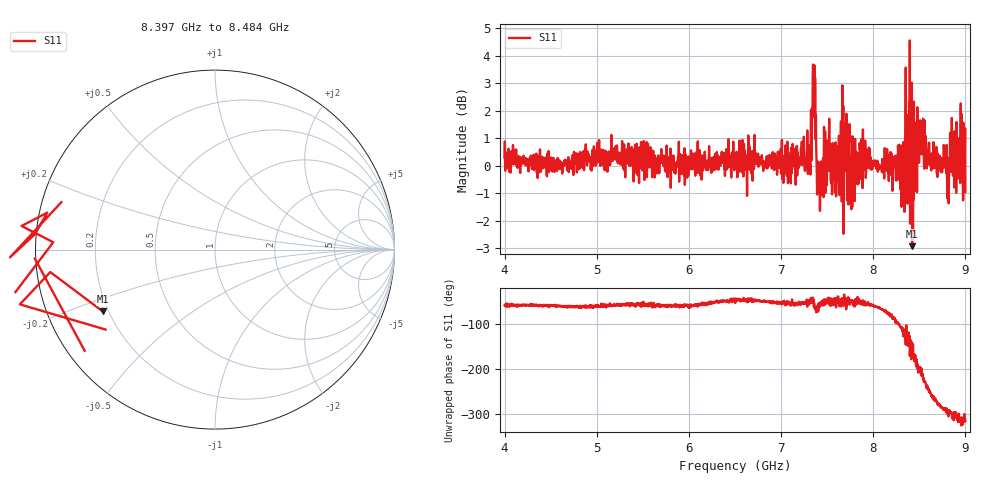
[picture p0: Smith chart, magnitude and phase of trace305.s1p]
! Created with skrf 1.8.0 (http://scikit-rf.org).
# Hz S RI R 50.0
!freq ReS11 ImS11
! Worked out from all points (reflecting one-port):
!   1601 points, 4 GHz to 9 GHz, reference 50 ohm
!   lowest |S11| = -2.9 dB at 8.422 GHz (marker M1), VSWR 6.00, Z = 8.87 - j12.5 ohm
!   phase of S11 starts at -57 deg and turns -257 deg over the sweep
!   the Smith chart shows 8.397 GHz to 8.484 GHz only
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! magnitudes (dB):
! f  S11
! 4 GHz  0.3
! 4.625 GHz  -0.3
! 5.25 GHz  0.1
! 5.875 GHz  0.0
! 6.5 GHz  0.4
! 7.125 GHz  0.8
! 7.294 GHz  0.3
! 7.316 GHz  -0.1
! 7.356 GHz  2.8
! 7.412 GHz  -0.9
! 7.509 GHz  0.3
! 7.609 GHz  0.7
! 7.669 GHz  -0.2
! 7.75 GHz  -0.5
! 7.891 GHz  0.4
! 8.316 GHz  0.7
! 8.334 GHz  -0.4
! 8.356 GHz  1.9
! 8.375 GHz  -0.5
! 8.422 GHz  -2.9
! 8.447 GHz  1.4
! 8.459 GHz  -0.9
! 8.525 GHz  0.4
! 8.606 GHz  0.8
! 8.806 GHz  -0.2
! 8.859 GHz  -0.2
! 8.972 GHz  0.2
! 9 GHz  -1.0
